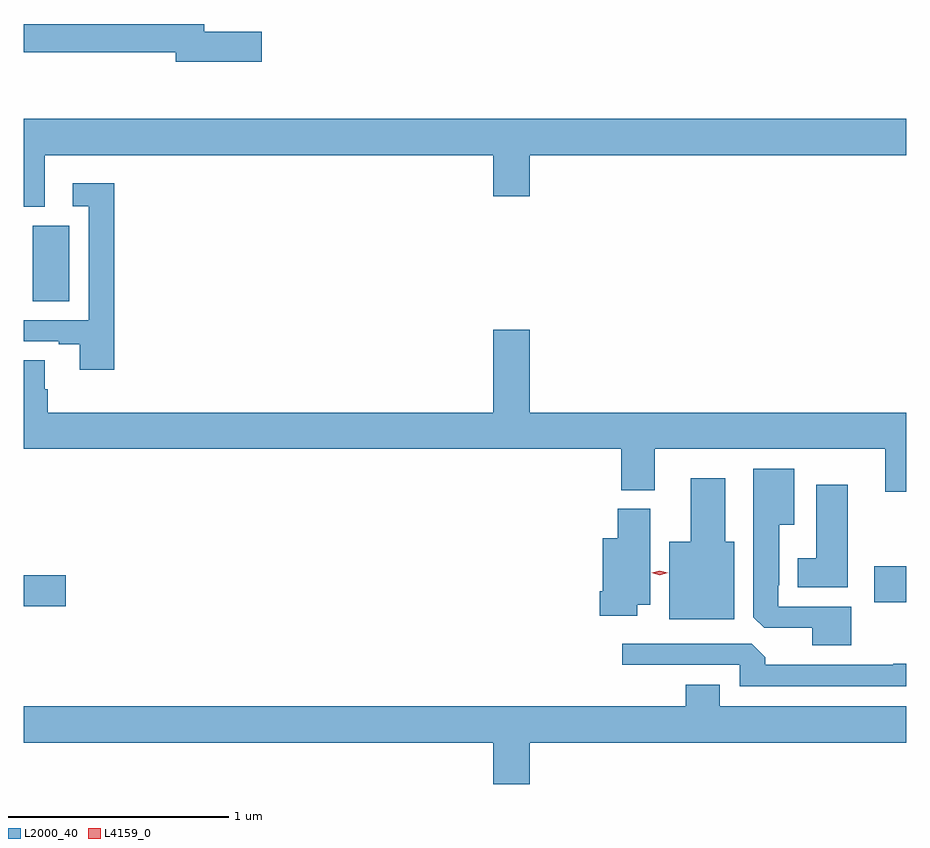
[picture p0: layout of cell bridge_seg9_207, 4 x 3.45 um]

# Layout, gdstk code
import gdstk
lib = gdstk.Library(unit=1e-6, precision=1e-09)
def R(c, l, rs):  # rectangles x0, y0, x1, y1
    for r in rs: c.add(gdstk.rectangle(r[:2], r[2:], *l))
def P(c, l, *ps):  # polygons
    for p in ps: c.add(gdstk.Polygon(p, *l))
L2000_40 = (2000, 40)
L4159_0 = (4159, 0)

bridge_seg9_207 = lib.new_cell('bridge_seg9_207')
R(bridge_seg9_207, L2000_40, [(162.879,1225.009,163.069,1225.151), (166.734,1225.028,166.879,1225.191), (162.92,1226.392,163.084,1226.736)])
P(bridge_seg9_207, L2000_40, [(163.957,1227.614),(163.696,1227.614),(163.696,1227.65),(162.879,1227.65),(162.879,1227.522),(163.568,1227.522),(163.568,1227.479),(163.957,1227.479)],
  [(162.973,1227.056),(165.008,1227.056),(165.008,1226.868),(165.172,1226.868),(165.172,1227.056),(166.879,1227.056),(166.879,1227.22),(162.879,1227.22),(162.879,1226.821),(162.973,1226.821)],
  [(163.289,1226.929),(163.101,1226.929),(163.101,1226.823),(163.173,1226.823),(163.173,1226.307),(162.879,1226.307),(162.879,1226.211),(163.037,1226.211),(163.037,1226.199),(163.133,1226.199),(163.133,1226.082),(163.289,1226.082)],
  [(166.879,1225.888),(165.172,1225.888),(165.172,1226.263),(165.008,1226.263),(165.008,1225.888),(162.986,1225.888),(162.986,1225.994),(162.973,1225.994),(162.973,1226.126),(162.879,1226.126),(162.879,1225.724),(165.587,1225.724),(165.587,1225.537),(165.739,1225.537),(165.739,1225.724),(166.784,1225.724),(166.784,1225.53),(166.879,1225.53)],
  [(166.63,1225.008),(166.299,1225.008),(166.299,1225.105),(166.303,1225.105),(166.303,1225.379),(166.372,1225.379),(166.372,1225.633),(166.187,1225.633),(166.187,1224.961),(166.236,1224.912),(166.454,1224.912),(166.454,1224.833),(166.63,1224.833)],
  [(166.099,1225.303),(166.06,1225.303),(166.06,1225.591),(165.902,1225.591),(165.902,1225.303),(165.806,1225.303),(165.806,1224.95),(166.099,1224.95)],
  [(166.615,1225.561),(166.472,1225.561),(166.472,1225.228),(166.388,1225.228),(166.388,1225.097),(166.615,1225.097)],
  [(165.661,1225.016),(165.718,1225.016),(165.718,1225.452),(165.572,1225.452),(165.572,1225.318),(165.503,1225.318),(165.503,1225.078),(165.491,1225.078),(165.491,1224.966),(165.661,1224.966)],
  [(166.879,1224.749),(166.82,1224.749),(166.82,1224.744),(166.241,1224.744),(166.241,1224.778),(166.179,1224.84),(165.591,1224.84),(165.591,1224.744),(166.125,1224.744),(166.125,1224.648),(166.879,1224.648)],
  [(165.172,1224.392),(166.879,1224.392),(166.879,1224.556),(166.033,1224.556),(166.033,1224.655),(165.881,1224.655),(165.881,1224.556),(162.879,1224.556),(162.879,1224.392),(165.008,1224.392),(165.008,1224.204),(165.172,1224.204)])
P(bridge_seg9_207, L4159_0, [(165.762,1225.151),(165.725,1225.161),(165.725,1225.161),(165.725,1225.161),(165.762,1225.171),(165.798,1225.161),(165.799,1225.161),(165.798,1225.161)])

lib.write_gds('bridge_seg9_207.gds')
